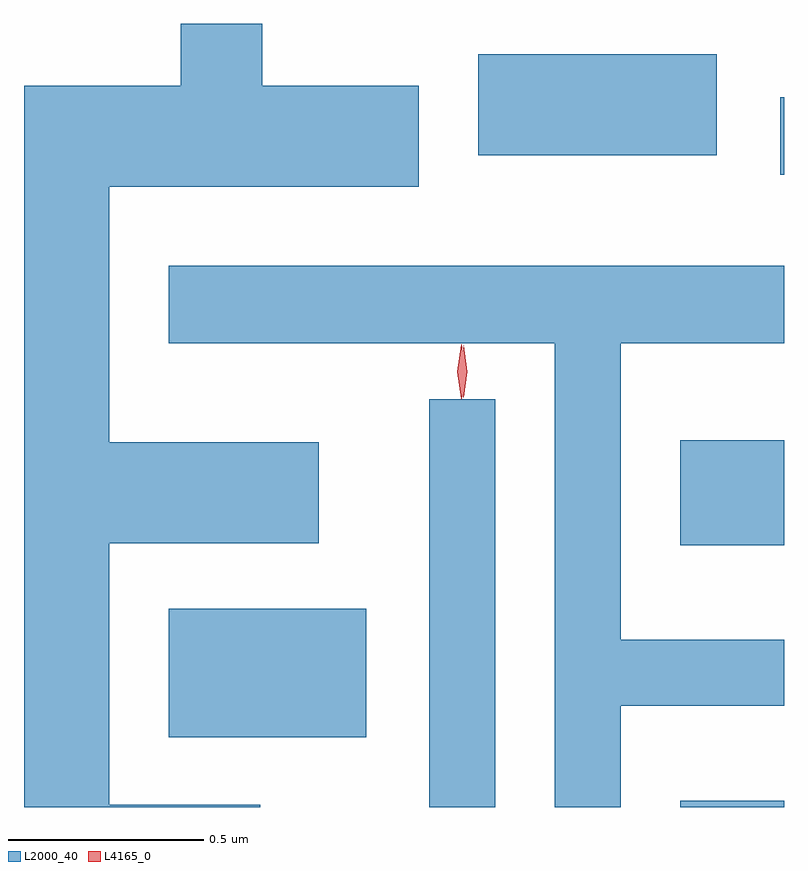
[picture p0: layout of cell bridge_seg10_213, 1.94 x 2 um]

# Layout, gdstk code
import gdstk
lib = gdstk.Library(unit=1e-6, precision=1e-09)
def R(c, l, rs):  # rectangles x0, y0, x1, y1
    for r in rs: c.add(gdstk.rectangle(r[:2], r[2:], *l))
def P(c, l, *ps):  # polygons
    for p in ps: c.add(gdstk.Polygon(p, *l))
L2000_40 = (2000, 40)
L4165_0 = (4165, 0)

bridge_seg10_213 = lib.new_cell('bridge_seg10_213')
R(bridge_seg10_213, L2000_40, [(1879.711,2141.132,1879.879,2142.173), (1880.351,2141.132,1880.616,2141.149), (1879.046,2141.311,1879.549,2141.639), (1880.351,2141.801,1880.616,2142.069), (1880.606,2142.746,1880.616,2142.944), (1879.836,2142.796,1880.444,2143.054)])
P(bridge_seg10_213, L2000_40, [(1879.279,2141.139),(1878.894,2141.139),(1878.894,2141.806),(1879.429,2141.806),(1879.429,2142.064),(1878.894,2142.064),(1878.894,2142.716),(1879.684,2142.716),(1879.684,2142.974),(1879.284,2142.974),(1879.284,2143.132),(1879.076,2143.132),(1879.076,2142.974),(1878.676,2142.974),(1878.676,2141.132),(1879.279,2141.132)],
  [(1880.199,2141.391),(1880.616,2141.391),(1880.616,2141.559),(1880.199,2141.559),(1880.199,2142.316),(1880.616,2142.316),(1880.616,2142.514),(1879.046,2142.514),(1879.046,2142.316),(1880.031,2142.316),(1880.031,2141.132),(1880.199,2141.132)])
P(bridge_seg10_213, L4165_0, [(1879.797,2142.178),(1879.788,2142.244),(1879.798,2142.31),(1879.798,2142.311),(1879.798,2142.31),(1879.808,2142.244),(1879.798,2142.178),(1879.798,2142.178)],
  [(1879.792,2142.174),(1879.792,2142.175),(1879.782,2142.244),(1879.792,2142.313),(1879.792,2142.314),(1879.793,2142.313),(1879.802,2142.244),(1879.793,2142.175)])

lib.write_gds('bridge_seg10_213.gds')
